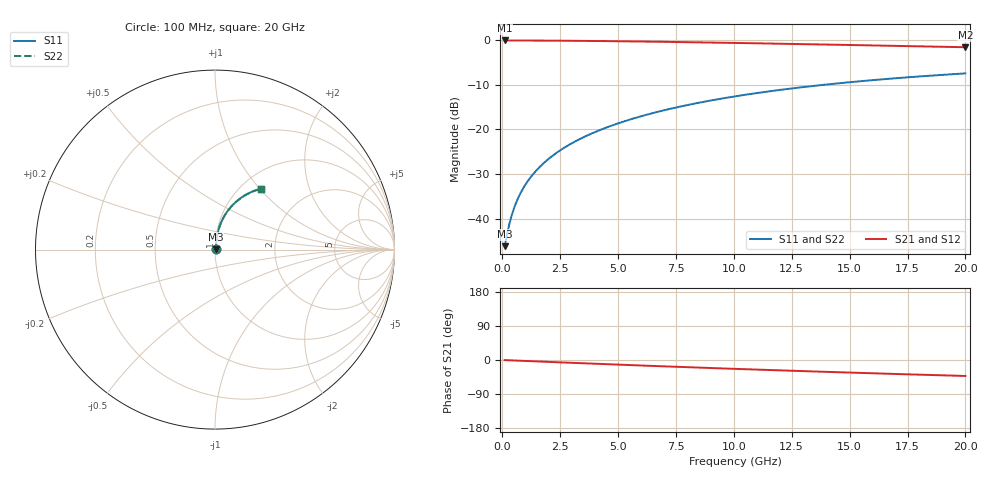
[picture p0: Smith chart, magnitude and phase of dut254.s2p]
! Touchstone file exported from HFSS 2024.1.0
!  File:  C:/UserFiles/LocalFiles/RDL_TSV_Batchsim/temp_RDL_bottom_254_1778701798.aedt
!  Generated:  03:52:35 AM May 14, 2026
!  Design:  RDL_bottom
!  Project:  temp_RDL_bottom_254_1778701798
!  Setup:  Setup1
!  Solution:  Sweep
! Variables:
!  dtsv = 10.80580581um
!  hbump = 3um
!  htsv = 54.81um
!  ldown = 574.84um
!  lrdl = 100um
!  p = 40
!  p1 = 47.4um
!  rhole = 1um
!  t = 450um
!  tdown = 2.92um
!  trdl = 3.915915916um
!  wdown = 17.19um
!  wrdl = 20um
# GHz S MA R 50.000000
! Terminal data exported
! Port[1] = RDL1_T1
! Port[2] = RDL1_T2
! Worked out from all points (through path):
!   200 points, 100 MHz to 20 GHz, reference 50 ohm
!   highest |S21| = -0.04 dB at 100 MHz (marker M1); lowest = -1.6 dB at 20 GHz (marker M2)
!   group delay of S21, straight-line fit = 5.84 ps
!   lowest |S11| = -46.2 dB at 100 MHz (marker M3), VSWR 1.01, Z = 50.4 + j0.25 ohm
!   |S11| at or under -10 dB: start of sweep to 13.87 GHz
!   |S22| runs from -46.2 to -7.4 dB; largest |S21 - S12| = 3.4e-15
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0.1  0.004897 30.4  0.9958 -0.3  0.9958 -0.3  0.004897 30.4
! Gamma 0 0 0 0
! Port Impedance 50 0 50 0
0.3  0.008588 58.6  0.9955 -0.8  0.9955 -0.8  0.008588 58.5
0.4  0.01074 64.3  0.9953 -1.0  0.9953 -1.0  0.01074 64.3
0.5  0.01293 68.1  0.9951 -1.3  0.9951 -1.3  0.01293 68.1
0.6  0.01513 70.8  0.9949 -1.5  0.9949 -1.5  0.01513 70.8
0.8  0.01956 74.3  0.9945 -2.0  0.9945 -2.0  0.01956 74.3
1.1  0.02626 77.3  0.9939 -2.8  0.9939 -2.8  0.02626 77.3
1.3  0.03076 78.6  0.9935 -3.3  0.9935 -3.3  0.03076 78.6
1.6  0.03757 79.8  0.9927 -4.0  0.9927 -4.0  0.03757 79.8
2.1  0.04901 80.9  0.9912 -5.2  0.9912 -5.2  0.049 80.9
2.7  0.06287 81.3  0.9889 -6.7  0.9889 -6.7  0.06286 81.3
3.5  0.08153 81.1  0.9851 -8.7  0.9851 -8.7  0.08152 81.1
4.2  0.09799 80.6  0.9812 -10.3  0.9812 -10.3  0.09798 80.5
5  0.1169 79.7  0.9761 -12.2  0.9761 -12.2  0.1169 79.6
5.9  0.1383 78.4  0.9697 -14.3  0.9697 -14.3  0.1382 78.4
6.8  0.1596 77.0  0.9627 -16.4  0.9627 -16.4  0.1596 77.0
8.4  0.1971 74.2  0.9491 -19.9  0.9491 -19.9  0.1971 74.2
10.1  0.236 71.1  0.9336 -23.5  0.9336 -23.5  0.2359 71.0
11.7  0.2712 68.0  0.9184 -26.8  0.9184 -26.8  0.2711 68.0
13.4  0.3068 64.8  0.9017 -30.2  0.9017 -30.2  0.3067 64.8
16.7  0.3701 58.7  0.8687 -36.4  0.8687 -36.4  0.3699 58.6
20  0.4252 52.9  0.836 -42.1  0.836 -42.1  0.425 52.9
